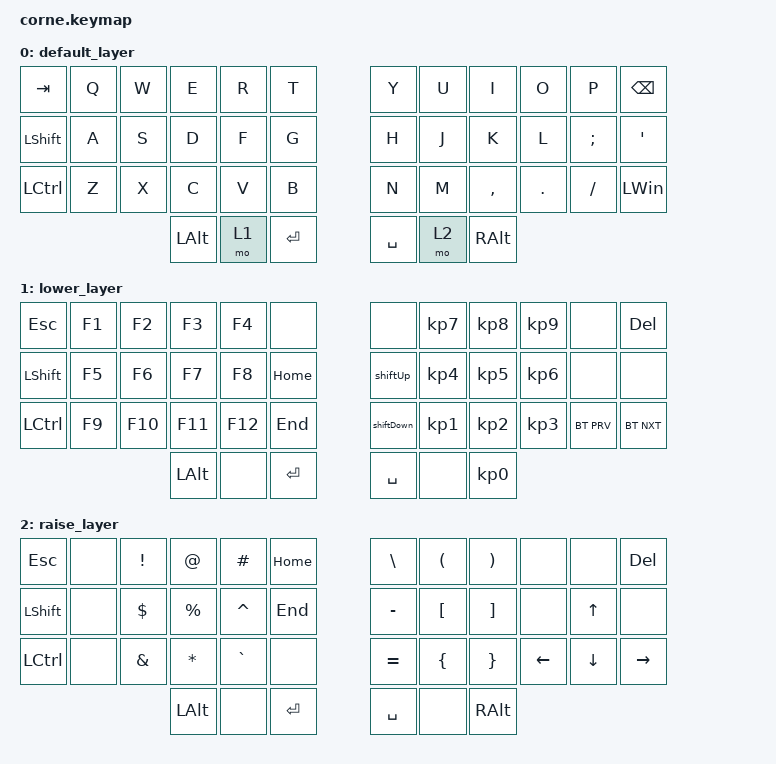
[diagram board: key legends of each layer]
/*
 * Copyright (c) 2020 The ZMK Contributors
 *
 * SPDX-License-Identifier: MIT
 */

#include <behaviors.dtsi>
#include <dt-bindings/zmk/bt.h>
#include <dt-bindings/zmk/keys.h>

/ {
    macros {
        shiftUp: shiftUp {
            compatible = "zmk,behavior-macro";
            #binding-cells = <0>;
            bindings =
                <&macro_press>,
                <&kt LEFT_SHIFT &kp LEFT_ALT>,
                <&macro_tap>,
                <&kp UP_ARROW>,
                <&macro_release>,
                <&kp LEFT_SHIFT &kp LEFT_ALT>;

            label = "SHIFTUP";
        };
        shiftDown: shiftDown {
            compatible = "zmk,behavior-macro";
            #binding-cells = <0>;
            bindings =
                <&macro_press>,
                <&kt LEFT_SHIFT &kp LEFT_ALT>,
                <&macro_tap>,
                <&kp DOWN_ARROW>,
                <&macro_release>,
                <&kp LEFT_SHIFT &kp LEFT_ALT>;

            label = "SHIFTDOWN";
        };
    };

    keymap {
        compatible = "zmk,keymap";

        default_layer {
            // -----------------------------------------------------------------------------------------
            // |  TAB |  Q  |  W  |  E  |  R  |  T  |   |  Y  |  U   |  I  |  O  |  P  | BKSP |
            // | CTRL |  A  |  S  |  D  |  F  |  G  |   |  H  |  J   |  K  |  L  |  ;  |  '   |
            // | SHFT |  Z  |  X  |  C  |  V  |  B  |   |  N  |  M   |  ,  |  .  |  /  | ESC  |
            //                    | GUI | LWR | SPC |   | ENT | RSE  | ALT |

            bindings = <
&kp TAB           &kp Q  &kp W  &kp E         &kp R  &kp T        &kp Y      &kp U  &kp I      &kp O    &kp P     &kp BSPC
&kp LEFT_SHIFT    &kp A  &kp S  &kp D         &kp F  &kp G        &kp H      &kp J  &kp K      &kp L    &kp SEMI  &kp SINGLE_QUOTE
&kp LEFT_CONTROL  &kp Z  &kp X  &kp C         &kp V  &kp B        &kp N      &kp M  &kp COMMA  &kp DOT  &kp FSLH  &kp LEFT_WIN
                                &kp LEFT_ALT  &mo 1  &kp ENTER    &kp SPACE  &mo 2  &kp RALT
            >;
        };

        lower_layer {
            // -----------------------------------------------------------------------------------------
            // |  TAB |  1  |  2  |  3  |  4  |  5  |   |  6  |  7  |  8  |  9  |  0  | BKSP |
            // | BTCLR| BT1 | BT2 | BT3 | BT4 | BT5 |   | LFT | DWN |  UP | RGT |     |      |
            // | SHFT |     |     |     |     |     |   |     |     |     |     |     |      |
            //                    | GUI |     | SPC |   | ENT |     | ALT |

            bindings = <
&kp ESCAPE      &kp F1  &kp F2   &kp F3        &kp F4   &none        &none       &kp KP_N7  &kp KP_N8  &kp KP_N9  &none       &kp DELETE
&kp LEFT_SHIFT  &kp F5  &kp F6   &kp F7        &kp F8   &kp HOME     &shiftUp    &kp KP_N4  &kp KP_N5  &kp KP_N6  &none       &none
&kp LCTRL       &kp F9  &kp F10  &kp F11       &kp F12  &kp END      &shiftDown  &kp KP_N1  &kp KP_N2  &kp KP_N3  &bt BT_PRV  &bt BT_NXT
                                 &kp LEFT_ALT  &none    &kp ENTER    &kp SPACE   &none      &kp KP_N0
            >;
        };

        raise_layer {
            // -----------------------------------------------------------------------------------------
            // |  TAB |  !  |  @  |  #  |  $  |  %  |   |  ^  |  &  |  *  |  (  |  )  | BKSP |
            // | CTRL |     |     |     |     |     |   |  -  |  =  |  [  |  ]  |  \  |  `   |
            // | SHFT |     |     |     |     |     |   |  _  |  +  |  {  |  }  | "|" |  ~   |
            //                    | GUI |     | SPC |   | ENT |     | ALT |

            bindings = <
&kp ESCAPE        &none  &kp EXCLAMATION  &kp AT_SIGN   &kp HASH   &kp HOME     &kp BACKSLASH  &kp LEFT_PARENTHESIS  &kp RIGHT_PARENTHESIS  &none           &none           &kp DELETE
&kp LEFT_SHIFT    &none  &kp DOLLAR       &kp PERCENT   &kp CARET  &kp END      &kp MINUS      &kp LEFT_BRACKET      &kp RIGHT_BRACKET      &none           &kp UP_ARROW    &none
&kp LEFT_CONTROL  &none  &kp AMPERSAND    &kp ASTERISK  &kp GRAVE  &none        &kp EQUAL      &kp LEFT_BRACE        &kp RIGHT_BRACE        &kp LEFT_ARROW  &kp DOWN_ARROW  &kp RIGHT_ARROW
                                          &kp LEFT_ALT  &none      &kp ENTER    &kp SPACE      &none                 &kp RALT
            >;
        };
    };
};
